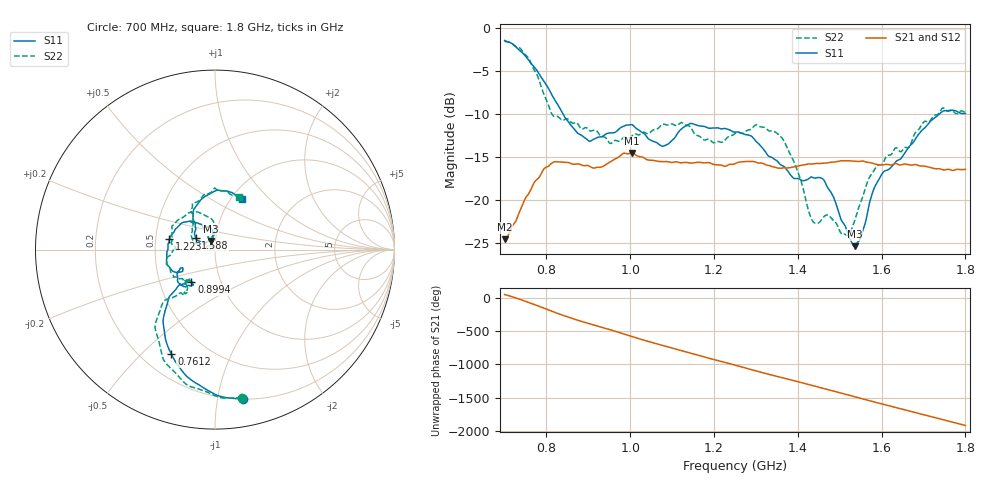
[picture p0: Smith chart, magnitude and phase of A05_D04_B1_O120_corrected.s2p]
! Created with skrf 1.9.0 (http://scikit-rf.org).
# Hz S RI R 50.0
!freq ReS11 ImS11 ReS21 ImS21 ReS12 ImS12 ReS22 ImS22
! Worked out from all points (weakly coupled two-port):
!   1601 points, 700 MHz to 1.8 GHz, reference 50 ohm
!   highest |S21| = -14.51 dB at 1.004 GHz (marker M1); lowest = -24.6 dB at 700.7 MHz (marker M2)
!   lowest |S11| = -25.4 dB at 1.535 GHz (marker M3), VSWR 1.11, Z = 47.5 + j4.64 ohm
!   |S11| at or under -10 dB: 839.3 MHz to 1.737 GHz (898 MHz wide, 69.7 % of centre)
!   |S22| runs from -24.1 to -1.5 dB; largest |S21 - S12| = 0.0034
!   S11 on the Smith chart (normalised r, x): 700 MHz: 0.20, -1.19; 761.2 MHz: 0.32, -0.62; 899.4 MHz: 0.72, -0.27; 1.223 GHz: 0.59, +0.07; 1.588 GHz: 0.80, +0.10; 1.8 GHz: 1.13, +0.70
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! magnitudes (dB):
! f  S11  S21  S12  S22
! 700 MHz  -1.4  -24.6  -24.3  -1.5
! 700.7 MHz  -1.4  -24.6  -24.3  -1.5
! 761.2 MHz  -4.0  -18.9  -18.8  -3.8
! 814.8 MHz  -7.9  -15.6  -15.7  -10.1
! 883.6 MHz  -12.5  -15.9  -15.8  -11.7
! 899.4 MHz  -13.1  -16.0  -16.0  -11.7
! 953 MHz  -12.2  -15.5  -15.5  -13.4
! 1.004 GHz  -11.2  -14.5  -14.6  -12.6
! 1.067 GHz  -13.5  -15.5  -15.4  -11.6
! 1.143 GHz  -11.1  -15.7  -15.7  -11.5
! 1.223 GHz  -11.7  -16.0  -16.0  -13.2
! 1.25 GHz  -12.1  -15.8  -15.7  -12.3
! 1.359 GHz  -15.9  -16.3  -16.3  -12.6
! 1.396 GHz  -17.5  -16.1  -16.1  -16.2
! 1.434 GHz  -17.3  -15.8  -15.8  -22.3
! 1.463 GHz  -17.8  -15.7  -15.7  -21.9
! 1.516 GHz  -23.4  -15.4  -15.4  -24.1
! 1.535 GHz  -25.4  -15.5  -15.5  -22.5
! 1.588 GHz  -18.1  -15.8  -15.8  -16.1
! 1.617 GHz  -16.4  -15.9  -15.8  -14.8
! 1.742 GHz  -9.8  -16.4  -16.4  -9.5
! 1.8 GHz  -9.9  -16.4  -16.4  -9.9
